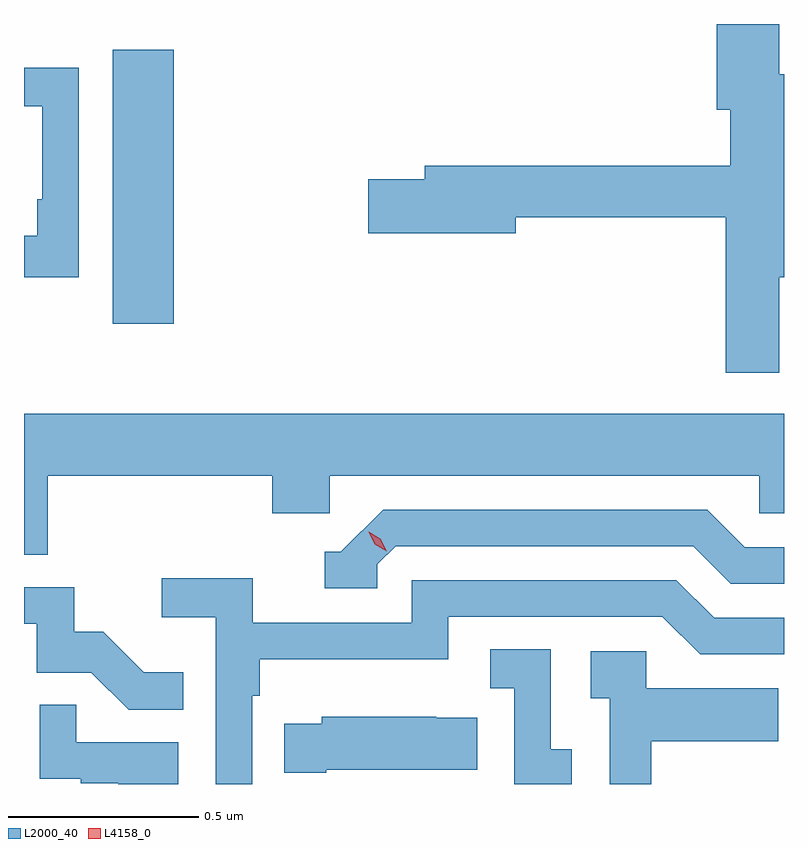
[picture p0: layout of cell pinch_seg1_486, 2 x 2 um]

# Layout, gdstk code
import gdstk
lib = gdstk.Library(unit=1e-6, precision=1e-09)
def R(c, l, rs):  # rectangles x0, y0, x1, y1
    for r in rs: c.add(gdstk.rectangle(r[:2], r[2:], *l))
def P(c, l, *ps):  # polygons
    for p in ps: c.add(gdstk.Polygon(p, *l))
L2000_40 = (2000, 40)
L4158_0 = (4158, 0)

pinch_seg1_486 = lib.new_cell('pinch_seg1_486')
R(pinch_seg1_486, L2000_40, [(1106.609,538.812,1106.77,539.533)])
P(pinch_seg1_486, L2000_40, [(1108.363,538.934),(1108.376,538.934),(1108.376,539.469),(1108.363,539.469),(1108.363,539.601),(1108.199,539.601),(1108.199,539.376),(1108.235,539.376),(1108.235,539.228),(1107.431,539.228),(1107.431,539.192),(1107.282,539.192),(1107.282,539.05),(1107.67,539.05),(1107.67,539.092),(1108.223,539.092),(1108.223,538.683),(1108.363,538.683)],
  [(1106.52,539.486),(1106.376,539.486),(1106.376,539.385),(1106.424,539.385),(1106.424,539.14),(1106.411,539.14),(1106.411,539.044),(1106.376,539.044),(1106.376,538.935),(1106.52,538.935)],
  [(1106.438,538.412),(1107.029,538.412),(1107.029,538.314),(1107.18,538.314),(1107.18,538.412),(1108.311,538.412),(1108.311,538.314),(1108.376,538.314),(1108.376,538.576),(1106.376,538.576),(1106.376,538.204),(1106.438,538.204)],
  [(1107.306,538.179),(1107.354,538.227),(1108.137,538.227),(1108.236,538.128),(1108.376,538.128),(1108.376,538.224),(1108.273,538.224),(1108.174,538.323),(1107.321,538.323),(1107.21,538.212),(1107.167,538.212),(1107.167,538.116),(1107.306,538.116)],
  [(1106.976,537.833),(1106.996,537.833),(1106.996,537.929),(1107.492,537.929),(1107.492,538.041),(1108.056,538.041),(1108.155,537.942),(1108.376,537.942),(1108.376,538.038),(1108.192,538.038),(1108.093,538.137),(1107.396,538.137),(1107.396,538.026),(1106.978,538.026),(1106.978,538.142),(1106.739,538.142),(1106.739,538.04),(1106.88,538.04),(1106.88,537.601),(1106.976,537.601)],
  [(1106.795,537.895),(1106.691,537.895),(1106.584,538.002),(1106.508,538.002),(1106.508,538.119),(1106.376,538.119),(1106.376,538.023),(1106.409,538.023),(1106.409,537.894),(1106.553,537.894),(1106.651,537.796),(1106.795,537.796)],
  [(1107.817,537.693),(1107.762,537.693),(1107.762,537.956),(1107.603,537.956),(1107.603,537.853),(1107.666,537.853),(1107.666,537.601),(1107.817,537.601)],
  [(1108.027,537.713),(1108.361,537.713),(1108.361,537.853),(1108.014,537.853),(1108.014,537.951),(1107.867,537.951),(1107.867,537.827),(1107.918,537.827),(1107.918,537.601),(1108.027,537.601)],
  [(1106.782,537.711),(1106.513,537.711),(1106.513,537.809),(1106.418,537.809),(1106.418,537.615),(1106.525,537.615),(1106.525,537.603),(1106.624,537.603),(1106.624,537.601),(1106.782,537.601)],
  [(1107.172,537.638),(1107.569,537.638),(1107.569,537.775),(1107.461,537.775),(1107.461,537.778),(1107.159,537.778),(1107.159,537.76),(1107.061,537.76),(1107.061,537.631),(1107.172,537.631)])
P(pinch_seg1_486, L4158_0, [(1107.33,538.213),(1107.299,538.232),(1107.283,538.265),(1107.283,538.265),(1107.283,538.265),(1107.314,538.246),(1107.33,538.213),(1107.33,538.213)])

lib.write_gds('pinch_seg1_486.gds')
